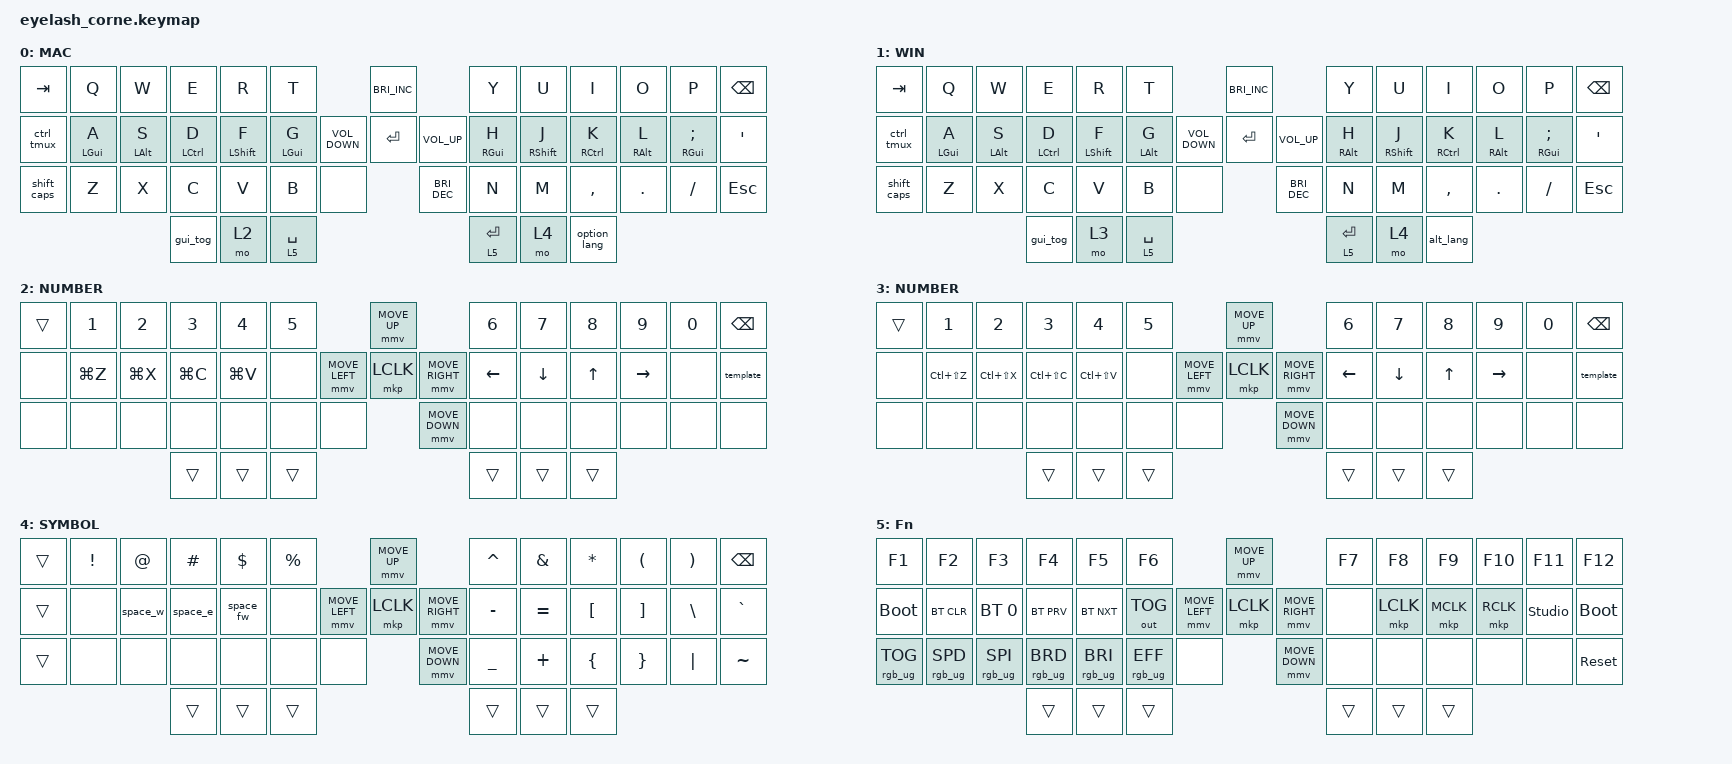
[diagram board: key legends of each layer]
#define ZMK_POINTING_DEFAULT_MOVE_VAL 1200  // 600
#define ZMK_POINTING_DEFAULT_SCRL_VAL 25   // 10

#include <input/processors.dtsi>
#include <zephyr/dt-bindings/input/input-event-codes.h>
#include <behaviors.dtsi>
#include <dt-bindings/zmk/bt.h>
#include <dt-bindings/zmk/keys.h>
#include <dt-bindings/zmk/outputs.h>
#include <dt-bindings/zmk/pointing.h>
#include <dt-bindings/zmk/rgb.h>

&mmv_input_listener { input-processors = <&zip_xy_scaler 2 1>; };

&msc_input_listener { input-processors = <&zip_scroll_scaler 2 1>; };

&msc {
    acceleration-exponent = <1>;      // 0
    time-to-max-speed-ms = <100>;       // 300
    delay-ms = <0>;                   // 0
};

&mmv {
    time-to-max-speed-ms = <500>;
    acceleration-exponent = <1>;
    trigger-period-ms = <16>;
};

/ {
    behaviors {
        shift_caps: shift_caps {
            compatible = "zmk,behavior-tap-dance";
            display-name = "Shift/Caps Lock Tap Dance";
            #binding-cells = <0>;
            bindings = <&kp LEFT_SHIFT>, <&kp CAPS>;

            label = "SHIFT_CAPS";
        };

        ctrl_tmux: ctrl_tmux {
            compatible = "zmk,behavior-tap-dance";
            display-name = "Shift/Caps Lock Tap Dance";
            #binding-cells = <0>;
            bindings = <&kp LCTRL>, <&kp LC(A)>;

            label = "CTRL_TMUX";
        };

        hrml: hrml {
            compatible = "zmk,behavior-hold-tap";
            label = "HRML";
            bindings = <&kp>, <&kp>;

            #binding-cells = <2>;
            hold-trigger-on-release;
            retro-tap;
            hold-trigger-key-positions = <7 8 9 10 11 12 22 23 24 25 26 27 36 37 38 39 40 41 46 47 45>;
            flavor = "balanced";
            tapping-term-ms = <280>;
            quick-tap-ms = <175>;
            require-prior-idle-ms = <150>;
        };

        hrmr: hrmr {
            compatible = "zmk,behavior-hold-tap";
            label = "HRMR";
            bindings = <&kp>, <&kp>;

            #binding-cells = <2>;
            hold-trigger-on-release;
            retro-tap;
            flavor = "balanced";
            tapping-term-ms = <280>;
            quick-tap-ms = <175>;
            require-prior-idle-ms = <150>;
            hold-trigger-key-positions = <0 1 2 3 4 5 13 14 15 16 17 18 28 29 30 31 32 33 42 43 44>;
        };

        option_lang: option_lang {
            compatible = "zmk,behavior-tap-dance";
            display-name = "Shift/Caps Lock Tap Dance";
            #binding-cells = <0>;
            bindings = <&kp LEFT_ALT>, <&kp LC(SPACE)>;

            label = "OPTION_LANG";
        };

        alt_lang: alt_lang {
            compatible = "zmk,behavior-tap-dance";
            display-name = "Shift/Caps Lock Tap Dance";
            #binding-cells = <0>;
            bindings = <&kp LEFT_ALT>, <&kp LA(LEFT_SHIFT)>;

            label = "ALT_LANG";
        };

        gui_tog: gui_tog {
            compatible = "zmk,behavior-tap-dance";
            display-name = "Shift/Caps Lock Tap Dance";
            #binding-cells = <0>;
            bindings = <&kp LEFT_GUI>, <&tog 1>;

            label = "GUI_TOG";
        };
    };

    macros {
        space_e: space_e {
            compatible = "zmk,behavior-macro";
            #binding-cells = <0>;
            bindings = <&kp SPACE>, <&macro_wait_time 10>, <&kp E>;

            label = "SPACE_E";
        };

        space_w: space_w {
            compatible = "zmk,behavior-macro";
            #binding-cells = <0>;
            bindings = <&kp SPACE>, <&macro_wait_time 10>, <&kp W>;

            label = "SPACE_W";
        };

        space_fw: space_fw {
            compatible = "zmk,behavior-macro";
            #binding-cells = <0>;
            bindings =
                <&kp SPACE>,
                <&macro_wait_time 10>,
                <&kp F>,
                <&macro_wait_time 10>,
                <&kp W>;

            label = "SPACE_FW";
        };

        template: template {
            compatible = "zmk,behavior-macro";
            #binding-cells = <0>;
            bindings =
                <&kp GRAVE &kp GRAVE &kp GRAVE>,
                <&macro_wait_time 10>,
                <&kp LS(ENTER) &kp LS(ENTER)>,
                <&macro_wait_time 10>,
                <&kp GRAVE &kp GRAVE &kp GRAVE>,
                <&macro_wait_time 10>,
                <&kp UP>;

            label = "TEMPLATE";
        };

        space_x: space_x {
            compatible = "zmk,behavior-macro";
            #binding-cells = <0>;
            bindings = <&kp SPACE>, <&macro_wait_time 10>, <&kp X>;

            label = "SPACE_X";
        };
    };

    keymap {
        compatible = "zmk,keymap";

        default_layer_mac {
            display-name = "MAC";
            bindings = <
&kp TAB      &kp Q             &kp W             &kp E                 &kp R               &kp T                                         &kp C_BRIGHTNESS_INC                   &kp Y              &kp U                &kp I                  &kp O              &kp P                 &kp BSPC
&ctrl_tmux   &hrml LEFT_GUI A  &hrml LEFT_ALT S  &hrml LEFT_CONTROL D  &hrml LEFT_SHIFT F  &hrml LEFT_GUI G           &kp C_VOLUME_DOWN  &kp ENTER             &kp C_VOLUME_UP  &hrmr RIGHT_GUI H  &hrmr RIGHT_SHIFT J  &hrmr RIGHT_CONTROL K  &hrmr RIGHT_ALT L  &hrmr RIGHT_GUI SEMI  &kp SQT
&shift_caps  &kp Z             &kp X             &kp C                 &kp V               &kp B             &none                       &kp C_BRIGHTNESS_DEC                   &kp N              &kp M                &kp COMMA              &kp DOT            &kp FSLH              &kp ESC
                                                 &gui_tog              &mo 2               &lt 5 SPACE                                                                          &lt 5 ENTER        &mo 4                &option_lang
            >;
        };

        default_layer_win {
            display-name = "WIN";
            bindings = <
&kp TAB      &kp Q             &kp W             &kp E                 &kp R               &kp T                                         &kp C_BRIGHTNESS_INC                   &kp Y              &kp U                &kp I                  &kp O              &kp P                 &kp BSPC
&ctrl_tmux   &hrml LEFT_GUI A  &hrml LEFT_ALT S  &hrml LEFT_CONTROL D  &hrml LEFT_SHIFT F  &hrml LEFT_ALT G           &kp C_VOLUME_DOWN  &kp ENTER             &kp C_VOLUME_UP  &hrmr RIGHT_ALT H  &hrmr RIGHT_SHIFT J  &hrmr RIGHT_CONTROL K  &hrmr RIGHT_ALT L  &hrmr RIGHT_GUI SEMI  &kp SQT
&shift_caps  &kp Z             &kp X             &kp C                 &kp V               &kp B             &none                       &kp C_BRIGHTNESS_DEC                   &kp N              &kp M                &kp COMMA              &kp DOT            &kp FSLH              &kp ESC
                                                 &gui_tog              &mo 3               &lt 5 SPACE                                                                          &lt 5 ENTER        &mo 4                &alt_lang
            >;
        };

        lower_layer_mac {
            display-name = "NUMBER";
            bindings = <
&trans  &kp N1     &kp N2     &kp N3     &kp N4     &kp N5                           &mmv MOVE_UP                     &kp N6    &kp N7    &kp N8  &kp N9     &kp N0  &kp BSPC
&none   &kp LG(Z)  &kp LG(X)  &kp LG(C)  &kp LG(V)  &none            &mmv MOVE_LEFT  &mkp LCLK       &mmv MOVE_RIGHT  &kp LEFT  &kp DOWN  &kp UP  &kp RIGHT  &none   &template
&none   &none      &none      &none      &none      &none   &none                    &mmv MOVE_DOWN                   &none     &none     &none   &none      &none   &none
                              &trans     &trans     &trans                                                            &trans    &trans    &trans
            >;
        };

        lower_layer_win {
            display-name = "NUMBER";
            bindings = <
&trans  &kp N1         &kp N2         &kp N3         &kp N4         &kp N5                           &mmv MOVE_UP                     &kp N6    &kp N7    &kp N8  &kp N9     &kp N0  &kp BSPC
&none   &kp LC(LS(Z))  &kp LC(LS(X))  &kp LC(LS(C))  &kp LC(LS(V))  &none            &mmv MOVE_LEFT  &mkp LCLK       &mmv MOVE_RIGHT  &kp LEFT  &kp DOWN  &kp UP  &kp RIGHT  &none   &template
&none   &none          &none          &none          &none          &none   &none                    &mmv MOVE_DOWN                   &none     &none     &none   &none      &none   &none
                                      &trans         &trans         &trans                                                            &trans    &trans    &trans
            >;
        };

        raise_layer {
            display-name = "SYMBOL";
            bindings = <
&trans  &kp EXCL  &kp AT    &kp HASH  &kp DLLR   &kp PRCNT                           &mmv MOVE_UP                     &kp CARET  &kp AMPS   &kp ASTRK  &kp LPAR  &kp RPAR  &kp BSPC
&trans  &none     &space_w  &space_e  &space_fw  &none               &mmv MOVE_LEFT  &mkp LCLK       &mmv MOVE_RIGHT  &kp MINUS  &kp EQUAL  &kp LBKT   &kp RBKT  &kp BSLH  &kp GRAVE
&trans  &none     &none     &none     &none      &none      &none                    &mmv MOVE_DOWN                   &kp UNDER  &kp PLUS   &kp LBRC   &kp RBRC  &kp PIPE  &kp TILDE
                            &trans    &trans     &trans                                                               &trans     &trans     &trans
            >;
        };

        layer_3 {
            display-name = "Fn";
            bindings = <
&kp F1           &kp F2           &kp F3           &kp F4           &kp F5           &kp F6                                    &mmv MOVE_UP                     &kp F7  &kp F8     &kp F9     &kp F10    &kp F11         &kp F12
&bootloader      &bt BT_CLR       &bt BT_SEL 0     &bt BT_PRV       &bt BT_NXT       &out OUT_TOG              &mmv MOVE_LEFT  &mkp LCLK       &mmv MOVE_RIGHT  &none   &mkp LCLK  &mkp MCLK  &mkp RCLK  &studio_unlock  &bootloader
&rgb_ug RGB_TOG  &rgb_ug RGB_SPD  &rgb_ug RGB_SPI  &rgb_ug RGB_BRD  &rgb_ug RGB_BRI  &rgb_ug RGB_EFF  &none                    &mmv MOVE_DOWN                   &none   &none      &none      &none      &none           &sys_reset
                                                   &trans           &trans           &trans                                                                     &trans  &trans     &trans
            >;
        };
    };
};
